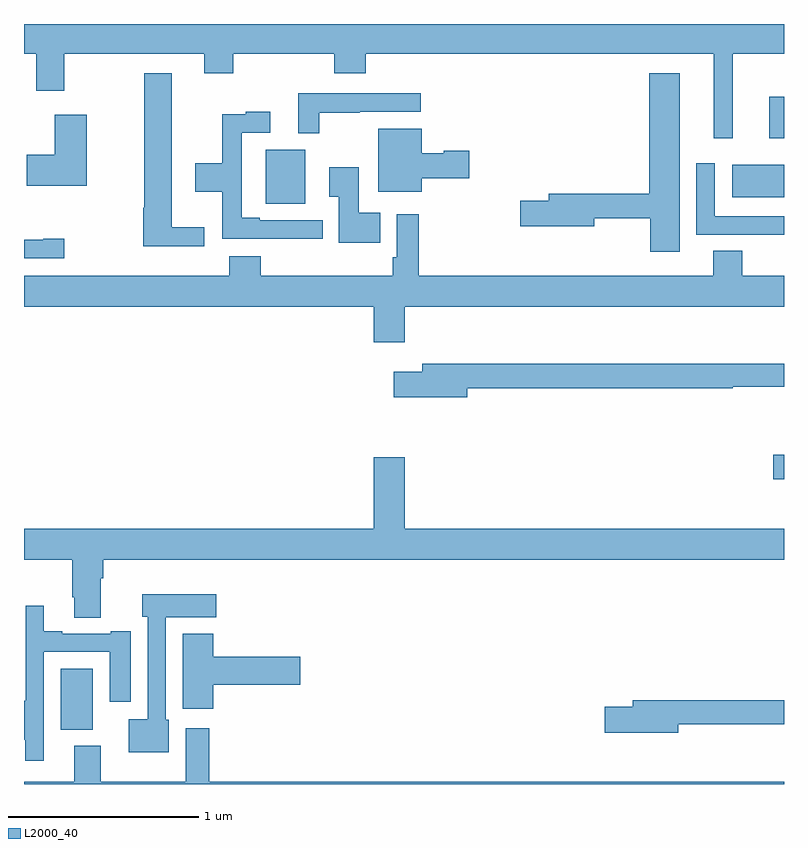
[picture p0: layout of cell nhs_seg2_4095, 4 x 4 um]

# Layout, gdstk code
import gdstk
lib = gdstk.Library(unit=1e-6, precision=1e-09)
def R(c, l, rs):  # rectangles x0, y0, x1, y1
    for r in rs: c.add(gdstk.rectangle(r[:2], r[2:], *l))
def P(c, l, *ps):  # polygons
    for p in ps: c.add(gdstk.Polygon(p, *l))
L2000_40 = (2000, 40)

nhs_seg2_4095 = lib.new_cell('nhs_seg2_4095')
R(nhs_seg2_4095, L2000_40, [(331.193,636.086,331.363,636.406), (334.944,637.403,335,637.533), (332.273,638.855,332.479,639.139), (334.727,638.888,335,639.058), (334.922,639.198,335,639.417)])
P(nhs_seg2_4095, L2000_40, [(334.73,639.644),(335,639.644),(335,639.8),(331,639.8),(331,639.644),(331.064,639.644),(331.064,639.45),(331.212,639.45),(331.212,639.644),(331.949,639.644),(331.949,639.542),(332.102,639.542),(332.102,639.644),(332.633,639.644),(332.633,639.542),(332.798,639.542),(332.798,639.644),(334.631,639.644),(334.631,639.198),(334.73,639.198)],
  [(331.948,638.729),(331.777,638.729),(331.777,639.541),(331.633,639.541),(331.633,638.834),(331.628,638.834),(331.628,638.63),(331.948,638.63)],
  [(334.45,639.541),(334.292,639.541),(334.292,638.906),(333.761,638.906),(333.761,638.87),(333.612,638.87),(333.612,638.735),(334,638.735),(334,638.778),(334.297,638.778),(334.297,638.601),(334.45,638.601)],
  [(332.554,639.334),(332.768,639.334),(332.768,639.339),(333.088,639.339),(333.088,639.435),(332.444,639.435),(332.444,639.224),(332.554,639.224)],
  [(332.572,638.766),(332.242,638.766),(332.242,638.779),(332.145,638.779),(332.145,639.228),(332.296,639.228),(332.296,639.337),(332.168,639.337),(332.168,639.326),(332.044,639.326),(332.044,639.066),(331.902,639.066),(331.902,638.918),(332.044,638.918),(332.044,638.67),(332.329,638.67),(332.329,638.669),(332.572,638.669)],
  [(331.329,639.322),(331.163,639.322),(331.163,639.111),(331.014,639.111),(331.014,638.948),(331.329,638.948)],
  [(333.094,638.987),(333.343,638.987),(333.343,639.134),(333.21,639.134),(333.21,639.121),(333.094,639.121),(333.094,639.25),(332.864,639.25),(332.864,638.918),(333.094,638.918)],
  [(335,638.787),(334.635,638.787),(334.635,639.067),(334.539,639.067),(334.539,638.691),(334.864,638.691),(334.864,638.69),(335,638.69)],
  [(332.876,638.806),(332.761,638.806),(332.761,639.046),(332.607,639.046),(332.607,638.89),(332.657,638.89),(332.657,638.648),(332.876,638.648)],
  [(333.004,638.312),(335,638.312),(335,638.476),(334.781,638.476),(334.781,638.606),(334.628,638.606),(334.628,638.476),(333.077,638.476),(333.077,638.8),(332.961,638.8),(332.961,638.572),(332.941,638.572),(332.941,638.476),(332.246,638.476),(332.246,638.578),(332.081,638.578),(332.081,638.476),(331,638.476),(331,638.312),(332.84,638.312),(332.84,638.124),(333.004,638.124)],
  [(331.213,638.669),(331.1,638.669),(331.1,638.664),(331,638.664),(331,638.568),(331.213,638.568)],
  [(333.334,637.882),(334.73,637.882),(334.73,637.89),(335,637.89),(335,638.011),(333.095,638.011),(333.095,637.969),(332.946,637.969),(332.946,637.835),(333.334,637.835)],
  [(331.405,636.884),(331.418,636.884),(331.418,636.98),(335,636.98),(335,637.144),(333.004,637.144),(333.004,637.519),(332.84,637.519),(332.84,637.144),(331,637.144),(331,636.98),(331.253,636.98),(331.253,636.784),(331.265,636.784),(331.265,636.676),(331.405,636.676)],
  [(331.762,636.138),(331.746,636.138),(331.746,636.677),(332.011,636.677),(332.011,636.799),(331.622,636.799),(331.622,636.681),(331.65,636.681),(331.65,636.142),(331.55,636.142),(331.55,635.966),(331.762,635.966)],
  [(331.104,636.495),(331.451,636.495),(331.451,636.234),(331.561,636.234),(331.561,636.604),(331.457,636.604),(331.457,636.591),(331.201,636.591),(331.201,636.604),(331.105,636.604),(331.105,636.739),(331.008,636.739),(331.008,636.239),(331,636.239),(331,636.034),(331.006,636.034),(331.006,635.922),(331.104,635.922)],
  [(331.997,636.323),(332.455,636.323),(332.455,636.47),(331.997,636.47),(331.997,636.592),(331.835,636.592),(331.835,636.195),(331.997,636.195)],
  [(334.444,636.114),(335,636.114),(335,636.242),(334.205,636.242),(334.205,636.206),(334.056,636.206),(334.056,636.071),(334.444,636.071)],
  [(335,635.812),(331.976,635.812),(331.976,636.094),(331.85,636.094),(331.85,635.812),(331.405,635.812),(331.405,636.001),(331.265,636.001),(331.265,635.812),(331,635.812),(331,635.8),(335,635.8)])

lib.write_gds('nhs_seg2_4095.gds')
